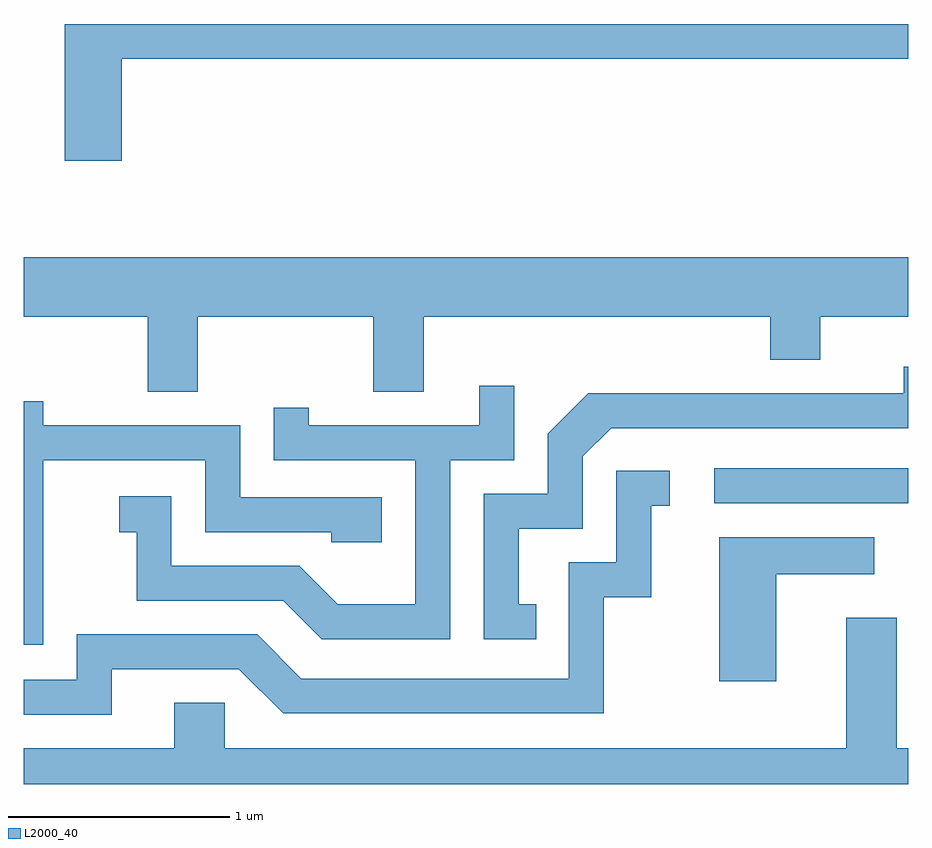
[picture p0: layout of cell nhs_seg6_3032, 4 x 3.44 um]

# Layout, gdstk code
import gdstk
lib = gdstk.Library(unit=1e-6, precision=1e-09)
def R(c, l, rs):  # rectangles x0, y0, x1, y1
    for r in rs: c.add(gdstk.rectangle(r[:2], r[2:], *l))
def P(c, l, *ps):  # polygons
    for p in ps: c.add(gdstk.Polygon(p, *l))
L2000_40 = (2000, 40)

nhs_seg6_3032 = lib.new_cell('nhs_seg6_3032')
R(nhs_seg6_3032, L2000_40, [(280.733,1531.431,281.611,1531.589)])
P(nhs_seg6_3032, L2000_40, [(278.054,1533.441),(281.611,1533.441),(281.611,1533.599),(277.796,1533.599),(277.796,1532.981),(278.054,1532.981)],
  [(278.399,1532.276),(279.191,1532.276),(279.191,1531.936),(279.419,1531.936),(279.419,1532.276),(280.986,1532.276),(280.986,1532.081),(281.214,1532.081),(281.214,1532.276),(281.611,1532.276),(281.611,1532.544),(277.611,1532.544),(277.611,1532.276),(278.171,1532.276),(278.171,1531.936),(278.399,1531.936)],
  [(279.928,1530.974),(279.849,1530.974),(279.849,1531.316),(280.139,1531.316),(280.139,1531.644),(280.267,1531.771),(281.611,1531.771),(281.611,1532.049),(281.591,1532.049),(281.591,1531.929),(280.164,1531.929),(279.981,1531.747),(279.981,1531.474),(279.691,1531.474),(279.691,1530.816),(279.928,1530.816)],
  [(279.539,1531.626),(279.829,1531.626),(279.829,1531.963),(279.671,1531.963),(279.671,1531.784),(278.899,1531.784),(278.899,1531.863),(278.741,1531.863),(278.741,1531.626),(279.381,1531.626),(279.381,1530.974),(279.032,1530.974),(278.857,1531.149),(278.279,1531.149),(278.279,1531.464),(278.043,1531.464),(278.043,1531.301),(278.121,1531.301),(278.121,1530.991),(278.784,1530.991),(278.959,1530.816),(279.539,1530.816)],
  [(277.699,1531.626),(278.431,1531.626),(278.431,1531.301),(279.001,1531.301),(279.001,1531.256),(279.229,1531.256),(279.229,1531.459),(278.589,1531.459),(278.589,1531.784),(277.699,1531.784),(277.699,1531.894),(277.611,1531.894),(277.611,1530.791),(277.699,1530.791)],
  [(278.009,1530.681),(278.584,1530.681),(278.784,1530.481),(280.234,1530.481),(280.234,1531.006),(280.449,1531.006),(280.449,1531.421),(280.533,1531.421),(280.533,1531.579),(280.291,1531.579),(280.291,1531.164),(280.076,1531.164),(280.076,1530.639),(278.867,1530.639),(278.667,1530.839),(277.851,1530.839),(277.851,1530.634),(277.611,1530.634),(277.611,1530.476),(278.009,1530.476)],
  [(281.014,1531.111),(281.458,1531.111),(281.458,1531.279),(280.756,1531.279),(280.756,1530.626),(281.014,1530.626)],
  [(281.611,1530.324),(281.559,1530.324),(281.559,1530.914),(281.331,1530.914),(281.331,1530.324),(278.519,1530.324),(278.519,1530.529),(278.291,1530.529),(278.291,1530.324),(277.611,1530.324),(277.611,1530.162),(281.611,1530.162)])

lib.write_gds('nhs_seg6_3032.gds')
